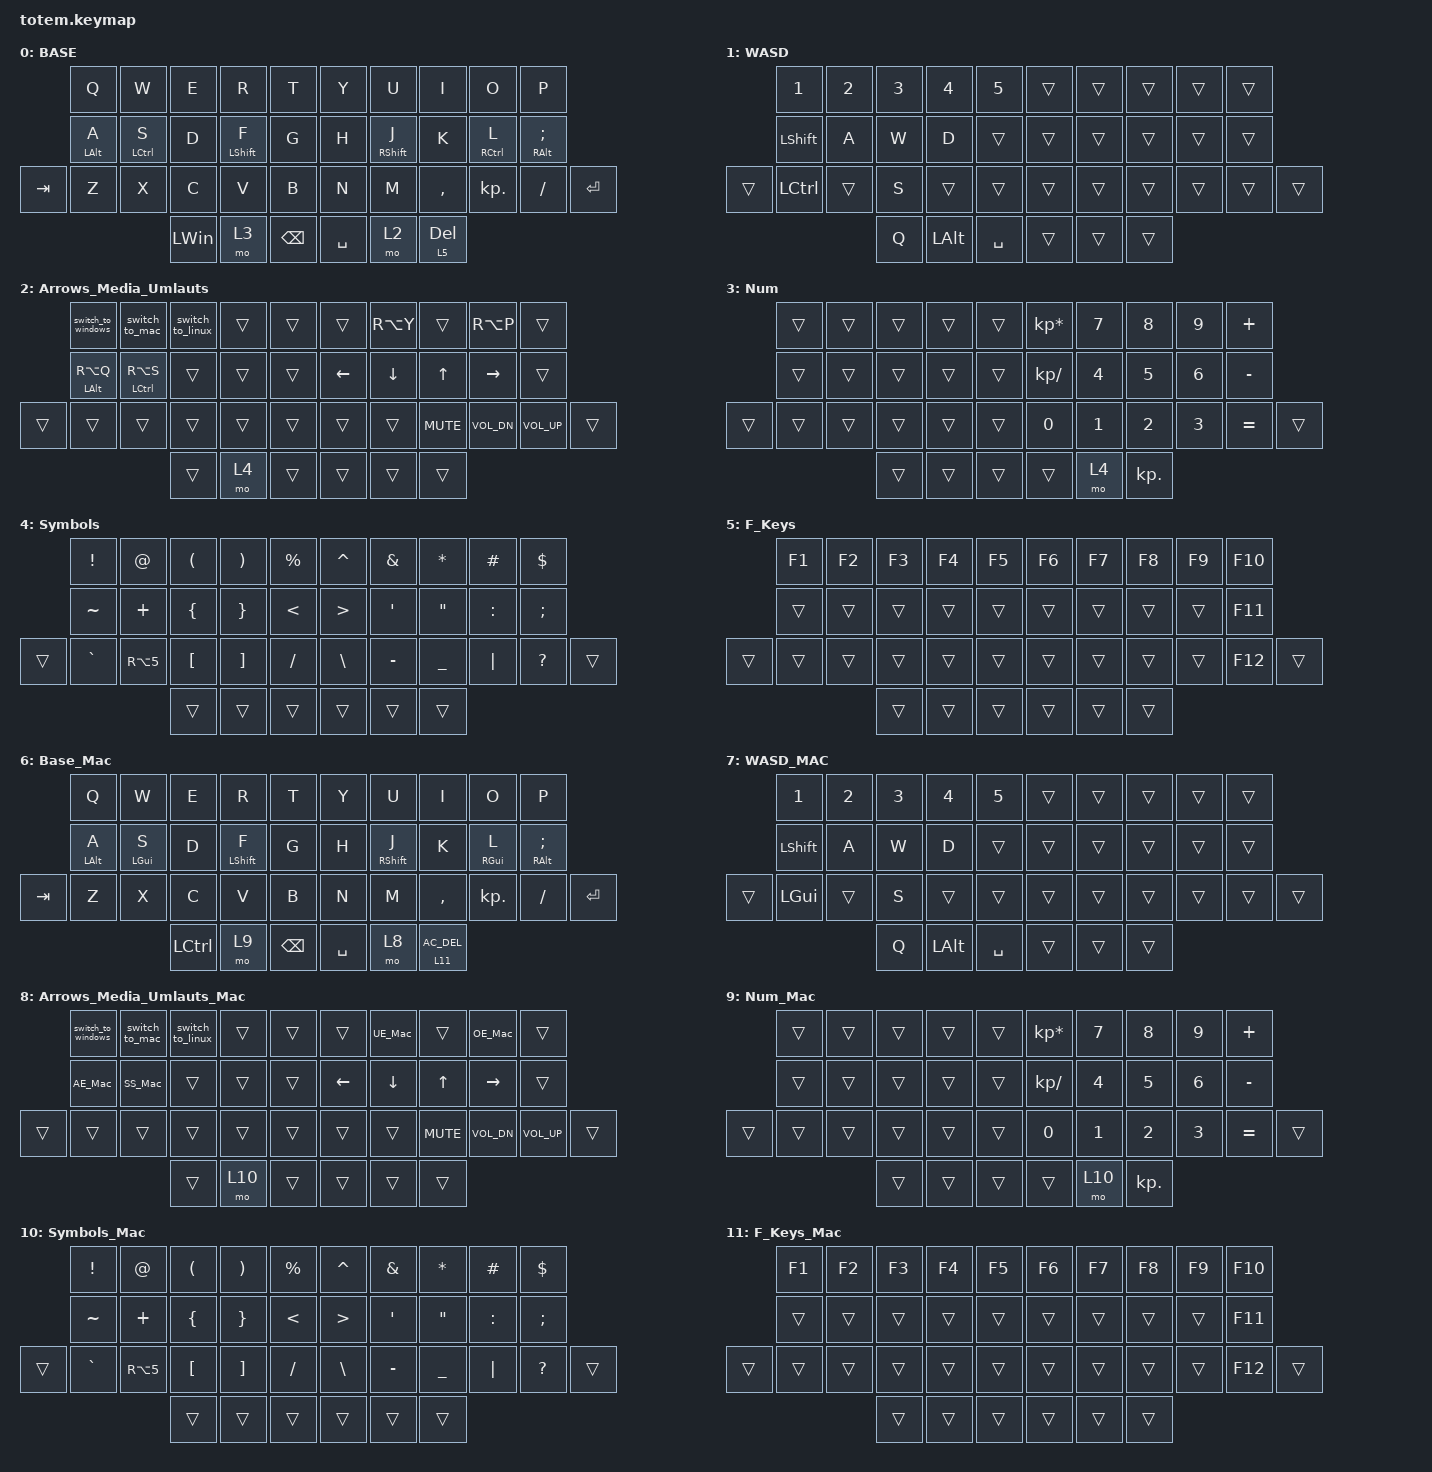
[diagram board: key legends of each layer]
//
//                                                        ▀▀▀▀▀     ▀▀▀▀▀          ▀▀█▀▀
//                                                        ▄▀▀▀▄  ▄  ▄▀▀▀▄  ▄  ▄▀▀▀▄  █  ▄▀▀▀▄
//                                                        █   █  █  █   █  █  █   █  █  █   █
//                                                         ▀▀▀   █   ▀▀▀   █   ▀▀▀   ▀   ▀▀▀
//                                                               █      ▄▄▄█▄▄▄    █   █  
//                                                               ▀      █  █  █     █▄█
//                                                             ▀▀▀▀▀    █  █  █      ▀
//                                                                      ▀  ▀  ▀
//
// ▄▄▄▄▄▄▄▄▄▄▄▄▄▄▄▄▄▄▄▄▄▄▄▄▄▄▄▄▄▄▄▄▄▄▄▄▄▄▄▄▄▄▄▄▄▄▄▄▄▄▄▄▄▄▄▄▄▄▄▄▄▄▄▄▄▄▄▄▄▄▄▄▄▄▄▄▄▄▄▄▄▄▄▄▄▄▄▄▄▄▄▄▄▄▄▄▄▄▄▄▄▄▄▄▄▄▄▄▄▄▄▄▄▄▄▄▄▄▄▄▄▄▄▄▄▄▄▄▄▄▄▄▄▄▄▄▄▄▄▄▄▄▄▄▄▄▄▄▄

#include <behaviors.dtsi>
#include <dt-bindings/zmk/bt.h>
#include <dt-bindings/zmk/keys.h>

#define BASE 0
#define NAV  1
#define SYM  2
#define ADJ  3
#define TVP1 4
#define TVP2 5

&mt {
    quick-tap-ms = <150>;
    global-quick-tap;
    flavor = "tap-preferred";
    tapping-term-ms = <210>;
};

/ {
    combos {
        compatible = "zmk,combos";

        Tab {
            timeout-ms = <100>;
            key-positions = <12 13 11>;
            bindings = <&kp ESCAPE>;
        };

        Gaming {
            bindings = <&tog 1>;
            key-positions = <22 23 24>;
        };

        Bluetooth_Reset_ {
            bindings = <&bt BT_CLR>;
            key-positions = <2 3 1 0 6 7 8 9>;
        };
    };

    macros {
        switch_to_mac: switch_to_mac {
            compatible = "zmk,behavior-macro";
            #binding-cells = <0>;
            bindings = <&bt BT_SEL 1>, <&macro_pause_for_release>, <&to 6>;

            label = "SWITCH_TO_MAC";
        };

        switch_to_windows: switch_to_windows {
            compatible = "zmk,behavior-macro";
            #binding-cells = <0>;
            bindings = <&bt BT_SEL 0>, <&macro_pause_for_release>, <&to 0>;

            label = "SWITCH_TO_WINDOWS";
        };

        AE_Mac: AE_Mac {
            compatible = "zmk,behavior-macro";
            #binding-cells = <0>;
            bindings = <&kp LA(U) &kp A>;
            label = "AE_MAC";
        };

        UE_Mac: UE_Mac {
            compatible = "zmk,behavior-macro";
            #binding-cells = <0>;
            bindings = <&kp LA(U) &kp U>;
            label = "UE_MAC";
        };

        OE_Mac: OE_ {
            compatible = "zmk,behavior-macro";
            #binding-cells = <0>;
            bindings = <&kp LA(U) &kp O>;
            label = "OE_";
        };

        SS_Mac: SS_Mac {
            compatible = "zmk,behavior-macro";
            #binding-cells = <0>;
            bindings = <&kp LA(S)>;
            label = "SS_MAC";
        };

        switch_to_linux: switch_to_linux {
            compatible = "zmk,behavior-macro";
            #binding-cells = <0>;
            bindings = <&bt BT_SEL 2>, <&macro_pause_for_release>, <&to 0>;

            label = "SWITCH_TO_LINUX";
        };
    };

    keymap {
        compatible = "zmk,keymap";

        // ▄▄▄▄▄▄▄▄▄▄▄▄▄▄▄▄▄▄▄▄▄▄▄▄▄▄▄▄▄▄▄▄▄▄▄▄▄▄▄▄▄▄▄▄▄▄▄▄▄▄▄▄▄▄▄▄▄▄▄▄▄▄▄▄▄▄▄▄▄▄▄▄▄▄▄▄▄▄▄▄▄▄▄▄▄▄▄▄▄▄▄▄▄▄▄▄▄▄▄▄▄▄▄▄▄▄▄▄▄▄▄▄▄▄▄▄▄▄▄▄▄▄▄▄▄▄▄▄▄▄▄▄▄▄▄▄▄▄▄▄▄▄▄▄▄▄▄▄▄

        Base_Layer {
            // ┏━━━━━━━━━━━━━━━━━━━━━━━━━━━━━━━━━━━━━━━┓

            label = "BASE";

            // ┗━━━━━━━━━━━━━━━━━━━━━━━━━━━━━━━━━━━━━━━┛
            //             ┏━━━━━━━━━━━┳━━━━━━━━━━━┳━━━━━━━━━━━┳━━━━━━━━━━━┳━━━━━━━━━━━┓   ┏━━━━━━━━━━━┳━━━━━━━━━━━┳━━━━━━━━━━━┳━━━━━━━━━━━┳━━━━━━━━━━━┓
            //             ┃     Q     ┃     W     ┃     F     ┃     P     ┃     G     ┃   ┃     J     ┃     L     ┃     U     ┃     Y     ┃     ;     ┃
            //             ┣━━━━━━━━━━━╋━━━━━━━━━━━╋━━━━━━━━━━━╋━━━━━━━━━━━╋━━━━━━━━━━━┫   ┣━━━━━━━━━━━╋━━━━━━━━━━━╋━━━━━━━━━━━╋━━━━━━━━━━━╋━━━━━━━━━━━┫
            //             ┃     A     ┃     R     ┃     S     ┃     T     ┃     D     ┃   ┃     H     ┃     N     ┃     E     ┃     I     ┃     O     ┃
            // ┏━━━━━━━━━━━╋━━━━━━━━━━━╋━━━━━━━━━━━╋━━━━━━━━━━━╋━━━━━━━━━━━╋━━━━━━━━━━━┫   ┣━━━━━━━━━━━╋━━━━━━━━━━━╋━━━━━━━━━━━╋━━━━━━━━━━━╋━━━━━━━━━━━╋━━━━━━━━━━━┓
            // ┃     Q     ┃     Z     ┃     X     ┃     C     ┃     V     ┃     B     ┃   ┃     K     ┃     M     ┃     ,     ┃     .     ┃     /     ┃     \     ┃
            // ┗━━━━━━━━━━━┻━━━━━━━━━━━┻━━━━━━━━━━━╋━━━━━━━━━━━╋━━━━━━━━━━━╋━━━━━━━━━━━┫   ┣━━━━━━━━━━━╋━━━━━━━━━━━╋━━━━━━━━━━━╋━━━━━━━━━━━┻━━━━━━━━━━━┻━━━━━━━━━━━┛
            //                                     ┃    DEL    ┃    TAB    ┃    SPC    ┃   ┃   ENTER   ┃           ┃   BSPC    ┃
            //                                     ┗━━━━━━━━━━━┻━━━━━━━━━━━┻━━━━━━━━━━━┛   ┗━━━━━━━━━━━┻━━━━━━━━━━━┻━━━━━━━━━━━┛

            bindings = <
         &kp Q           &kp W        &kp E         &kp R        &kp T            &kp Y      &kp U        &kp I      &kp O        &kp P
         &mt LEFT_ALT A  &mt LCTRL S  &kp D         &mt LSHFT F  &kp G            &kp H      &mt RSHFT J  &kp K      &mt RCTRL L  &mt RIGHT_ALT SEMI
&kp TAB  &kp Z           &kp X        &kp C         &kp V        &kp B            &kp N      &kp M        &kp COMMA  &kp KP_DOT   &kp SLASH           &kp ENTER
                                      &kp LEFT_WIN  &mo 3        &kp BACKSPACE    &kp SPACE  &mo 2        &lt 5 DEL
            >;
        };

        WASD {
            bindings = <
        &kp NUMBER_1      &kp NUMBER_2  &kp NUMBER_3  &kp NUMBER_4  &kp NUMBER_5    &trans  &trans  &trans  &trans  &trans
        &kp LEFT_SHIFT    &kp A         &kp W         &kp D         &trans          &trans  &trans  &trans  &trans  &trans
&trans  &kp LEFT_CONTROL  &trans        &kp S         &trans        &trans          &trans  &trans  &trans  &trans  &trans  &trans
                                        &kp Q         &kp LEFT_ALT  &kp SPACE       &trans  &trans  &trans
            >;
        };

        Arrows_Media_Umlauts {
            bindings = <
        &switch_to_windows  &switch_to_mac          &switch_to_linux  &trans  &trans    &trans          &kp RA(Y)       &trans        &kp RA(P)        &trans
        &mt LEFT_ALT RA(Q)  &mt LEFT_CONTROL RA(S)  &trans            &trans  &trans    &kp LEFT_ARROW  &kp DOWN_ARROW  &kp UP_ARROW  &kp RIGHT_ARROW  &trans
&trans  &trans              &trans                  &trans            &trans  &trans    &trans          &trans          &kp C_MUTE    &kp C_VOL_DN     &kp C_VOL_UP  &trans
                                                    &trans            &mo 4   &trans    &trans          &trans          &trans
            >;
        };

        Num {
            bindings = <
        &trans  &trans  &trans  &trans  &trans    &kp KP_MULTIPLY  &kp N7        &kp N8        &kp N9        &kp PLUS
        &trans  &trans  &trans  &trans  &trans    &kp KP_DIVIDE    &kp NUMBER_4  &kp N5        &kp NUMBER_6  &kp MINUS
&trans  &trans  &trans  &trans  &trans  &trans    &kp N0           &kp NUMBER_1  &kp NUMBER_2  &kp NUMBER_3  &kp EQUAL  &trans
                        &trans  &trans  &trans    &trans           &mo 4         &kp KP_DOT
            >;
        };

        Symbols {
            bindings = <
        &kp EXCL   &kp AT      &kp LEFT_PARENTHESIS  &kp RIGHT_PARENTHESIS  &kp PERCENT      &kp CARET         &kp AMPERSAND     &kp ASTERISK       &kp HASH   &kp DOLLAR
        &kp TILDE  &kp PLUS    &kp LEFT_BRACE        &kp RIGHT_BRACE        &kp LESS_THAN    &kp GREATER_THAN  &kp SINGLE_QUOTE  &kp DOUBLE_QUOTES  &kp COLON  &kp SEMI
&trans  &kp GRAVE  &kp RA(N5)  &kp LEFT_BRACKET      &kp RIGHT_BRACKET      &kp SLASH        &kp BACKSLASH     &kp MINUS         &kp UNDER          &kp PIPE   &kp QUESTION  &trans
                               &trans                &trans                 &trans           &trans            &trans            &trans
            >;
        };

        F_Keys {
            bindings = <
        &kp F1  &kp F2  &kp F3  &kp F4  &kp F5    &kp F6  &kp F7  &kp F8  &kp F9  &kp F10
        &trans  &trans  &trans  &trans  &trans    &trans  &trans  &trans  &trans  &kp F11
&trans  &trans  &trans  &trans  &trans  &trans    &trans  &trans  &trans  &trans  &kp F12  &trans
                        &trans  &trans  &trans    &trans  &trans  &trans
            >;
        };

        Base_Layer_Mac {
            label = "Base_Mac";
            bindings = <
         &kp Q           &kp W           &kp E             &kp R        &kp T            &kp Y      &kp U        &kp I            &kp O            &kp P
         &mt LEFT_ALT A  &mt LEFT_GUI S  &kp D             &mt LSHFT F  &kp G            &kp H      &mt RSHFT J  &kp K            &mt RIGHT_GUI L  &mt RIGHT_ALT SEMI
&kp TAB  &kp Z           &kp X           &kp C             &kp V        &kp B            &kp N      &kp M        &kp COMMA        &kp KP_DOT       &kp SLASH           &kp ENTER
                                         &kp LEFT_CONTROL  &mo 9        &kp BACKSPACE    &kp SPACE  &mo 8        &lt 11 C_AC_DEL
            >;
        };

        WASD_MAC {
            bindings = <
        &kp NUMBER_1    &kp NUMBER_2  &kp NUMBER_3  &kp NUMBER_4  &kp N5       &trans  &trans  &trans  &trans  &trans
        &kp LEFT_SHIFT  &kp A         &kp W         &kp D         &trans       &trans  &trans  &trans  &trans  &trans
&trans  &kp LEFT_GUI    &trans        &kp S         &trans        &trans       &trans  &trans  &trans  &trans  &trans  &trans
                                      &kp Q         &kp LEFT_ALT  &kp SPACE    &trans  &trans  &trans
            >;
        };

        Arrows_Media_Umlauts_Mac {
            bindings = <
        &switch_to_windows  &switch_to_mac  &switch_to_linux  &trans  &trans    &trans          &UE_Mac         &trans        &OE_Mac          &trans
        &AE_Mac             &SS_Mac         &trans            &trans  &trans    &kp LEFT_ARROW  &kp DOWN_ARROW  &kp UP_ARROW  &kp RIGHT_ARROW  &trans
&trans  &trans              &trans          &trans            &trans  &trans    &trans          &trans          &kp C_MUTE    &kp C_VOL_DN     &kp C_VOL_UP  &trans
                                            &trans            &mo 10  &trans    &trans          &trans          &trans
            >;
        };

        Num_Mac {
            bindings = <
        &trans  &trans  &trans  &trans  &trans    &kp KP_MULTIPLY  &kp N7        &kp N8        &kp N9        &kp PLUS
        &trans  &trans  &trans  &trans  &trans    &kp KP_DIVIDE    &kp NUMBER_4  &kp N5        &kp NUMBER_6  &kp MINUS
&trans  &trans  &trans  &trans  &trans  &trans    &kp N0           &kp NUMBER_1  &kp NUMBER_2  &kp NUMBER_3  &kp EQUAL  &trans
                        &trans  &trans  &trans    &trans           &mo 10        &kp KP_DOT
            >;
        };

        Symbols_Mac {
            bindings = <
        &kp EXCL   &kp AT      &kp LEFT_PARENTHESIS  &kp RIGHT_PARENTHESIS  &kp PERCENT      &kp CARET         &kp AMPERSAND     &kp ASTERISK       &kp HASH   &kp DOLLAR
        &kp TILDE  &kp PLUS    &kp LEFT_BRACE        &kp RIGHT_BRACE        &kp LESS_THAN    &kp GREATER_THAN  &kp SINGLE_QUOTE  &kp DOUBLE_QUOTES  &kp COLON  &kp SEMI
&trans  &kp GRAVE  &kp RA(N5)  &kp LEFT_BRACKET      &kp RIGHT_BRACKET      &kp SLASH        &kp BACKSLASH     &kp MINUS         &kp UNDER          &kp PIPE   &kp QUESTION  &trans
                               &trans                &trans                 &trans           &trans            &trans            &trans
            >;
        };

        F_Keys_Mac {
            bindings = <
        &kp F1  &kp F2  &kp F3  &kp F4  &kp F5    &kp F6  &kp F7  &kp F8  &kp F9  &kp F10
        &trans  &trans  &trans  &trans  &trans    &trans  &trans  &trans  &trans  &kp F11
&trans  &trans  &trans  &trans  &trans  &trans    &trans  &trans  &trans  &trans  &kp F12  &trans
                        &trans  &trans  &trans    &trans  &trans  &trans
            >;
        };
    };
};
